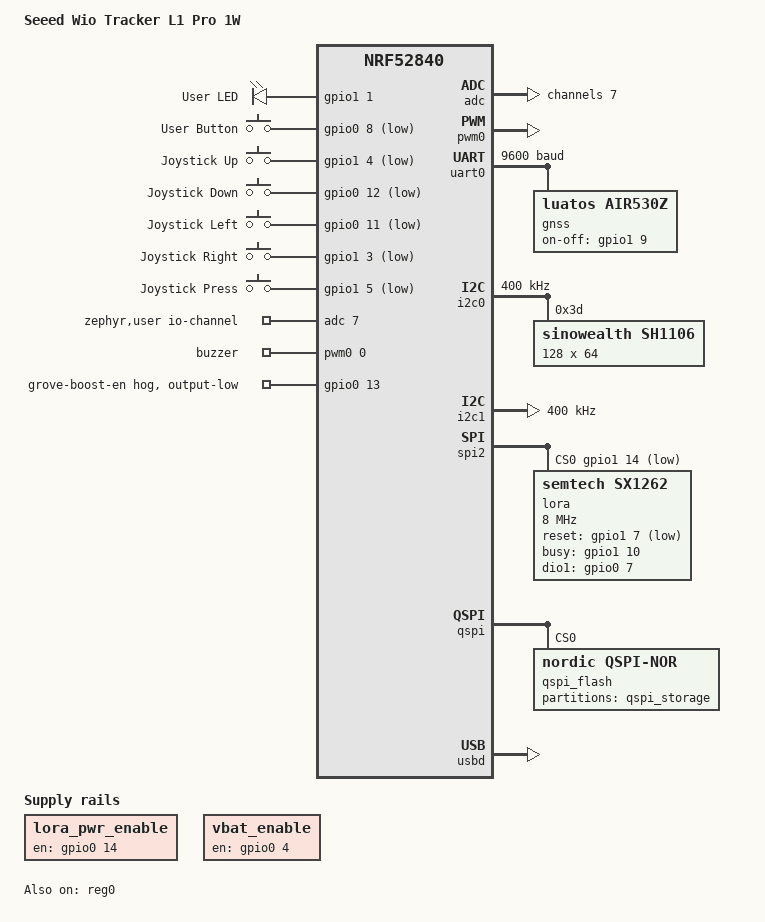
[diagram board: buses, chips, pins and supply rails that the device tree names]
/*
 * Seeed Wio Tracker L1 - nRF52840 + SX1262
 * Copyright (c) 2025 ZephCore
 *
 * SPDX-License-Identifier: MIT
 *
 * Hardware:
 * - nRF52840 SoC with BLE
 * - SX1262 LoRa radio + 1 W external PA (DIO2 as RF switch, TCXO 1.8V)
 * - P25Q16H 2MB QSPI flash
 * - SH1106 OLED display (I2C 0x3D)
 * - L76KB GPS module
 * - Joystick + user button
 * - Battery voltage ADC
 *
 * Differences from the stock wio_tracker_l1, all confirmed against BOTH
 * MeshCore's variants/wio-tracker-l1-1w and Meshtastic's
 * variants/nrf52840/seeed_wio_tracker_L1_Pro_1W pin maps:
 *
 *   P0.14  LORA_PWR_EN  new: LDO enable for the SX1262 + 1 W PA (hog, below)
 *   P0.13  BOOST_EN     new: Grove 5 V boost enable (hog low, below)
 *   P1.15  BQ25616 STAT new: charge status, active LOW - see note below
 *   P0.29  LORA_VDET    replaces the stock board's P1.08 LORA_SW - NOT an
 *                       RF-switch line, see the &spi2 lora node
 *   (no EInk: the stock board's EInk header pins D31..D37 are reused above)
 *
 * The orange mesh LED stays on P1.01. MeshCore's variant.cpp annotates it
 * "Pro 1W: P1.01 (not P1.15)", which reads like a move, but the pin-map VALUE
 * is 33 in both files - only the net NAME changed (User LED -> Mesh_LED).
 * Meshtastic has 33 as well. Nothing to change here.
 *
 * P1.15 (BQ25616 STAT) is deliberately not bound. ZephCore has no charge-state
 * consumer: mesh::ZephyrBoard::isExternalPowered() reads the nRF52 POWER
 * peripheral's VBUS detect directly, which works on this board without a pin.
 * Same treatment as thinknode_m9's charge-DONE line.
 */

/dts-v1/;
#include <nordic/nrf52840_qiaa.dtsi>
#include <nordic/nrf52840_partition.dtsi>
#include <zephyr/dt-bindings/lora/sx126x.h>
#include <zephyr/dt-bindings/adc/nrf-saadc.h>
#include <zephyr/dt-bindings/input/input-event-codes.h>
#include <zephyr/dt-bindings/pwm/pwm.h>
#include "wio_tracker_l1_1w_nrf52840-pinctrl.dtsi"

/* Delete default partitions from nrf52840_partition.dtsi */
/delete-node/ &boot_partition;
/delete-node/ &slot0_partition;
/delete-node/ &slot1_partition;
/delete-node/ &storage_partition;

/ {
	model = "Seeed Wio Tracker L1 Pro 1W";
	compatible = "seeed,wio-tracker-l1-1w";

	chosen {
		zephyr,code-partition = &code_partition;
		zephyr,console = &cdc_acm_uart;
		zephyr,shell-uart = &cdc_acm_uart;
		zephyr,display = &sh1106;
	};

	leds {
		compatible = "gpio-leds";

		user_led: led_0 {
			gpios = <&gpio1 1 GPIO_ACTIVE_HIGH>;
			label = "User LED";
		};
	};

	buttons: buttons {
		compatible = "gpio-keys";

		user_button: button_0 {
			gpios = <&gpio0 8 (GPIO_PULL_UP | GPIO_ACTIVE_LOW)>;
			zephyr,code = <INPUT_KEY_0>;
			label = "User Button";
		};

		joystick_up: button_1 {
			gpios = <&gpio1 4 (GPIO_PULL_UP | GPIO_ACTIVE_LOW)>;
			zephyr,code = <INPUT_KEY_UP>;
			label = "Joystick Up";
		};

		joystick_down: button_2 {
			gpios = <&gpio0 12 (GPIO_PULL_UP | GPIO_ACTIVE_LOW)>;
			zephyr,code = <INPUT_KEY_DOWN>;
			label = "Joystick Down";
		};

		joystick_left: button_3 {
			gpios = <&gpio0 11 (GPIO_PULL_UP | GPIO_ACTIVE_LOW)>;
			zephyr,code = <INPUT_KEY_LEFT>;
			label = "Joystick Left";
		};

		joystick_right: button_4 {
			gpios = <&gpio1 3 (GPIO_PULL_UP | GPIO_ACTIVE_LOW)>;
			zephyr,code = <INPUT_KEY_RIGHT>;
			label = "Joystick Right";
		};

		joystick_press: button_5 {
			gpios = <&gpio1 5 (GPIO_PULL_UP | GPIO_ACTIVE_LOW)>;
			zephyr,code = <INPUT_KEY_ENTER>;
			label = "Joystick Press";
		};
	};

	/* Input filter: user button long-press detection (1000ms) */
	user_btn_longpress {
		compatible = "zephyr,input-longpress";
		input = <&buttons>;
		input-codes = <INPUT_KEY_0>;
		short-codes = <INPUT_KEY_A>;
		long-codes = <INPUT_KEY_POWER>;
		long-delay-ms = <1000>;
	};

	/* Input filter: user button multi-tap detection
	 * 1 tap  (400ms wait) → KEY_1 = page next on OLED
	 * 2 taps (400ms wait) → KEY_B = LED heartbeat toggle
	 * 3 taps (400ms wait) → KEY_D = buzzer mute toggle
	 * 4 taps (400ms wait) → KEY_C = GPS on/off
	 * 5 taps (immediate)  → KEY_E = flood advert */
	user_btn_multitap {
		compatible = "zephcore,input-multi-tap";
		/* No 'input' phandle — listen to ALL devices.
		 * KEY_A is emitted by the longpress pseudo-device,
		 * not by &buttons, so we must not filter by device. */
		input-codes = <INPUT_KEY_A>;
		tap-codes = <INPUT_KEY_1 INPUT_KEY_B INPUT_KEY_D INPUT_KEY_C INPUT_KEY_E>;
		tap-delay-ms = <500>;
	};

	/* P0.14 LORA_PWR_EN - external LDO feeding the SX1262 AND the 1 W PA.
	 * The radio is dead without it, so it must be up before the LoRa driver
	 * probes: REGULATOR_FIXED_INIT_PRIORITY is 75, LORA_INIT_PRIORITY is 90.
	 * Same shape as rak3401_1watt's lora_pwr_enable, which gates a SKY66122
	 * the same way.
	 *
	 * Never turned off. ZephCore keeps the radio in RX 24/7 and deliberately
	 * does not PM-suspend it, and there is no fem_txgain pref in this tree to
	 * expose the rail as a runtime knob (MeshCore's variant drives it from
	 * `set radio.fem.txgain`; ZephCore only has fem_rxgain, and that acts on
	 * lna-bypass-gpios, a different pin class entirely). */
	lora_pwr_enable: lora-pwr-enable {
		compatible = "regulator-fixed";
		regulator-name = "lora-pwr-enable";
		enable-gpios = <&gpio0 14 GPIO_ACTIVE_HIGH>;
		regulator-boot-on;
		/* The LDO + PA settle requirement. It runs at boot (Zephyr
		 * 3b4821f1ba6, pinned from 1.17.5; it was skipped before), but do
		 * not rely on it alone: the real settle time comes from the SX126x driver's own reset (5 ms
		 * NRESET pulse + 5 ms wait + BUSY poll) 15 init priorities later.
		 * See the identical note on rak3401_1watt. */
		startup-delay-us = <10000>;
	};

	/* Battery voltage enable and ADC - on-demand only to save power */
	vbat_enable: vbat-enable {
		compatible = "regulator-fixed";
		regulator-name = "vbat-enable";
		enable-gpios = <&gpio0 4 GPIO_ACTIVE_HIGH>;
		/* NOT regulator-boot-on - enabled on-demand in ZephyrBoard.cpp */
	};

	/* Battery ADC channel reference for ZephyrBoard */
	zephyr,user {
		io-channels = <&adc 7>;
		vbat-mv-multiplier = <7236>;  /* 2:1 divider, 3.6V ref; +0.5% for nRF SAADC gain error */
	};

	/* Buzzer on PWM0 channel 0 (P1.00) - no enable pin needed */
	pwmbuzzer {
		compatible = "pwm-leds";
		buzzer: buzzer {
			pwms = <&pwm0 0 PWM_MSEC(20) PWM_POLARITY_NORMAL>;
		};
	};

	aliases {
		led0 = &user_led;
		sw0 = &user_button;
		lora0 = &lora;
		watchdog0 = &wdt0;
		buzzer = &buzzer;
	};
};

&reg0 {
	status = "okay";
};

&reg1 {
	regulator-initial-mode = <NRF5X_REG_MODE_DCDC>;
};

&adc {
	status = "okay";
	#address-cells = <1>;
	#size-cells = <0>;

	/* Battery voltage on P0.31 (AIN7) */
	channel@7 {
		reg = <7>;
		zephyr,gain = "ADC_GAIN_1_6";
		zephyr,reference = "ADC_REF_INTERNAL";
		zephyr,acquisition-time = <ADC_ACQ_TIME(ADC_ACQ_TIME_MICROSECONDS, 10)>;
		zephyr,input-positive = <NRF_SAADC_AIN7>;
		zephyr,resolution = <12>;
	};
};

&uicr {
	nfct-pins-as-gpios;
};

&gpiote {
	status = "okay";
};

&gpio0 {
	status = "okay";

	/* P0.13 BOOST_EN - Grove 5 V boost converter. Parked OFF, matching
	 * Meshtastic's initVariant(); nothing in ZephCore drives 5 V Grove
	 * peripherals, and the reset state of an nRF GPIO is disconnected, so
	 * leaving it unbound would float the converter's enable input. The
	 * Grove I2C bus itself (&i2c1, P1.11/P1.12) is unaffected - it runs at
	 * 3V3 and does not need the boost. */
	grove_boost_off {
		gpio-hog;
		gpios = <13 GPIO_ACTIVE_HIGH>;
		output-low;
		line-name = "grove-boost-en";
	};
};

&gpio1 {
	status = "okay";

	/* NOTE: buzzer-off gpio-hog REMOVED - buzzer pin is now managed by PWM
	 * driver. When PWM is not driving, the pin is low (no current draw). */

	/* NOTE: GPS enable hog REMOVED — GPS works fine without it, and the
	 * reason is now confirmed rather than guessed: P1.09 is the L76K's
	 * WAKEUP pin, which the L76K hardware design specifies as active low
	 * "with pull-up internally". Left unconfigured it floats high and the
	 * module stays in Continuous mode. */
};

/* PWM0 for buzzer */
&pwm0 {
	status = "okay";
	pinctrl-0 = <&pwm0_default>;
	pinctrl-1 = <&pwm0_sleep>;
	pinctrl-names = "default", "sleep";
};

/* GPS L76KB module - NOTE: Feb 6 working version had no GPIO control nodes.
 * The GPS just worked without any power control! Keeping it simple. */

/* Quectel L76KB GNSS on UART0 - 9600 baud (PCAS/CASIC protocol)
 * Uses Zephyr luatos,air530z driver (same PCAS command set for
 * constellation config via PCAS04, fix rate via PCAS02, etc.)
 * on-off-gpios = P1.09, the module's WAKEUP/standby pin (see &gpio1 note and
 * board.overlay) — driver drives it high for Continuous, low for Standby. */
&uart0 {
	compatible = "nordic,nrf-uarte";
	status = "okay";
	current-speed = <9600>;
	pinctrl-0 = <&uart0_default>;
	pinctrl-1 = <&uart0_sleep>;
	pinctrl-names = "default", "sleep";
	/* No hw-flow-control - GPS doesn't use RTS/CTS */

	gnss: gnss {
		compatible = "luatos,air530z";
		on-off-gpios = <&gpio1 9 GPIO_ACTIVE_HIGH>;
	};
};

/* I2C0 for onboard OLED display only.
 * External environment/power sensors live on the Grove bus (&i2c1). */
&i2c0 {
	compatible = "nordic,nrf-twim";
	status = "okay";
	clock-frequency = <I2C_BITRATE_FAST>;
	pinctrl-0 = <&i2c0_default>;
	pinctrl-1 = <&i2c0_sleep>;
	pinctrl-names = "default", "sleep";
	/* SH1106 sends 1 cmd + 128 data = 129 bytes per page write.
	 * nRF TWIM needs an internal buffer >= this size. */
	zephyr,concat-buf-size = <256>;
	zephyr,flash-buf-max-size = <256>;

	sh1106: sh1106@3d {
		compatible = "sinowealth,sh1106";
		reg = <0x3d>;
		width = <128>;
		height = <64>;
		segment-offset = <2>;    /* SH1106 has 2-column offset */
		page-offset = <0>;
		display-offset = <0>;
		multiplex-ratio = <63>;
		segment-remap;
		com-invdir;
		prechargep = <0x22>;
	};
};

/* I2C1 for Grove connector — external environment/power sensors.
 * Auto-detected at runtime; absent sensors fail device_is_ready() and
 * are skipped harmlessly by ZephyrEnvSensors. */
&i2c1 {
	compatible = "nordic,nrf-twim";
	status = "okay";
	clock-frequency = <I2C_BITRATE_FAST>;
	pinctrl-0 = <&i2c1_default>;
	pinctrl-1 = <&i2c1_sleep>;
	pinctrl-names = "default", "sleep";

	/* All supported environment & power sensors — auto-detected at runtime */
	#include "../../common/sensors-i2c.dtsi"
};

/* SPI2 (SPIM2) for LoRa SX1262.
 * Must NOT use SPIM0 (shares instance 0 with I2C0/OLED) or SPIM1 (shares
 * instance 1 with TWIM1, which drives the Grove I2C bus &i2c1). SPIM2 is a
 * dedicated SPI-only instance, so the radio and both I2C buses coexist. */
&spi2 {
	compatible = "nordic,nrf-spim";
	status = "okay";
	cs-gpios = <&gpio1 14 GPIO_ACTIVE_LOW>;
	pinctrl-0 = <&spi2_default>;
	pinctrl-1 = <&spi2_sleep>;
	pinctrl-names = "default", "sleep";

	lora: lora@0 {
		compatible = "semtech,sx1262";
		reg = <0>;
		reset-gpios = <&gpio1 7 GPIO_ACTIVE_LOW>;
		busy-gpios = <&gpio1 10 GPIO_ACTIVE_HIGH>;
		dio1-gpios = <&gpio0 7 (GPIO_PULL_DOWN | GPIO_ACTIVE_HIGH)>;

		/* NO rx-enable-gpios on this board, unlike the stock Wio Tracker
		 * L1 where RXEN is P1.08. DIO2 drives the whole antenna switch
		 * here. The pin the stock board calls LORA_SW (P1.08) is replaced
		 * on the Pro 1W by LORA_VDET on P0.29 - a PA power detector on
		 * AIN5, an ANALOG INPUT, not a switch control.
		 *
		 * MeshCore's variants/wio-tracker-l1-1w/variant.h keeps
		 * `#define SX126X_RXEN (5)` from the stock variant while
		 * remapping D5 to P0.29, so it drives the detector line as an
		 * RXEN output. Meshtastic's variant for the same board sets
		 * SX126X_RXEN / SX126X_TXEN to RADIOLIB_NC and comments
		 * "DIO2 controls antenna switch (no external RXEN/TXEN)".
		 * Meshtastic is followed here. Binding P0.29 as rx-enable-gpios
		 * would drive an analog detector node from a push-pull output. */
		dio2-tx-enable;
		dio3-tcxo-voltage = <SX126X_DIO3_TCXO_1V8>;
		tcxo-power-startup-delay-ms = <5>;
		spi-max-frequency = <8000000>;
		rx-boosted;
	};
};

/* QSPI Flash - P25Q16H 2MB - single-bit mode at 16MHz (matches Arduino) */
&qspi {
	status = "okay";
	pinctrl-0 = <&qspi_default>;
	pinctrl-1 = <&qspi_sleep>;
	pinctrl-names = "default", "sleep";

	qspi_flash: qspi_flash@0 {
		compatible = "nordic,qspi-nor";
		reg = <0>;
		writeoc = "pp";           /* Single-bit page program (universal) */
		readoc = "fastread";      /* Single-bit fast read (universal) */
		sck-frequency = <16000000>; /* 16 MHz (matches Arduino) */
		jedec-id = [85 60 15];    /* P25Q16H */
		sfdp-bfp = [
			e5 20 f1 ff  ff ff ff 01  44 eb 08 6b  08 3b 04 bb
			ee ff ff ff  ff ff 00 ff  ff ff 00 ff  0c 20 0f 52
			10 d8 00 ff
		];
		size = <16777216>;        /* 2MB = 16Mbit */
		has-dpd;
		t-enter-dpd = <3000>;
		/* quad-enable not needed for single-bit mode */
	};
};

zephyr_udc0: &usbd {
	compatible = "nordic,nrf-usbd";
	status = "okay";

	cdc_acm_uart: cdc_acm_uart {
		compatible = "zephyr,cdc-acm-uart";
	};
};

/* Arduino MeshCore compatible partition layout (SoftDevice v7) */
#include "../../common/nrf52_partitions_sdv7.dtsi"

/* External QSPI flash partitions */
&qspi_flash {
	partitions {
		compatible = "fixed-partitions";
		#address-cells = <1>;
		#size-cells = <1>;

		/* Full 2MB for LittleFS storage */
		qspi_storage_partition: partition@0 {
			label = "qspi_storage";
			reg = <0x00000000 0x00200000>;
		};
	};
};
#include "../../common/nrf52_wakeup.dtsi"
